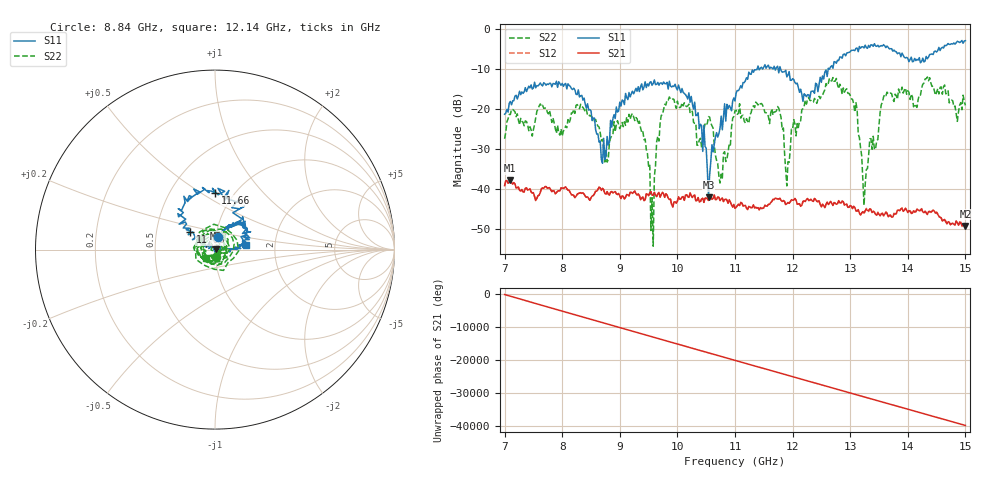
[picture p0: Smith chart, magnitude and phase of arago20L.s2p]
!Keysight Technologies,N5242B,MY47200105,A.14.00.23
!Date: Friday, April 26, 2024 11:29:56
!Correction: S11(C  2-Port  )
!S21(C  2-Port  )
!S12(C  2-Port  )
!S22(C  2-Port  )
!S2P File: Measurement: :
# Hz S  RI  R 50
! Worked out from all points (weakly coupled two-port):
!   401 points, 7 GHz to 15 GHz, reference 50 ohm
!   highest |S21| = -37.77 dB at 7.1 GHz (marker M1); lowest = -49.2 dB at 15 GHz (marker M2)
!   lowest |S11| = -42.0 dB at 10.54 GHz (marker M3), VSWR 1.02, Z = 50.5 + j0.608 ohm
!   |S11| at or under -10 dB: start of sweep to 11.38 GHz; 11.41528 GHz to 11.43162 GHz (16.34 MHz wide, 0.143 % of centre); 11.79 GHz to 12.62 GHz (826.1 MHz wide, 6.77 % of centre) (the widest 3 of 8)
!   |S22| runs from -54.3 to -12.0 dB; largest |S21 - S12| = 0.00019
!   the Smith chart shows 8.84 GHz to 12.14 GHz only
!   S11 on the Smith chart (normalised r, x): 8.84 GHz: 1.02, +0.14; 11.06 GHz: 0.74, +0.15; 11.66 GHz: 0.82, +0.58; 12.14 GHz: 1.42, +0.08
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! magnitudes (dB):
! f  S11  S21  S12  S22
! 7 GHz  -21.3  -39.2  -39.1  -27.4
! 7.1 GHz  -18.1  -37.8  -37.8  -21.4
! 8.34 GHz  -16.6  -41.1  -41.1  -19.4
! 8.72 GHz  -27.3  -40.2  -40.2  -30.1
! 8.84 GHz  -22.8  -40.8  -40.8  -27.2
! 9.32 GHz  -14.4  -41.2  -41.2  -23.8
! 9.58 GHz  -13.6  -41.5  -41.5  -54.3
! 9.68 GHz  -14.0  -40.8  -40.8  -28.0
! 9.86 GHz  -13.1  -42.6  -42.6  -17.0
! 10.26 GHz  -18.8  -42.1  -42.1  -20.7
! 10.54 GHz  -42.0  -42.8  -42.8  -21.9
! 10.74 GHz  -24.8  -42.9  -42.9  -38.5
! 11 GHz  -18.0  -44.8  -44.9  -20.5
! 11.06 GHz  -15.4  -43.8  -43.8  -21.1
! 11.66 GHz  -10.0  -42.6  -42.6  -21.5
! 11.9 GHz  -12.0  -43.6  -43.7  -39.2
! 12.14 GHz  -15.1  -44.3  -44.2  -23.0
! 12.34 GHz  -15.6  -42.9  -43.0  -18.3
! 12.96 GHz  -5.9  -44.6  -44.5  -16.1
! 13.26 GHz  -4.1  -45.4  -45.5  -39.0
! 13.68 GHz  -5.0  -46.6  -46.6  -16.3
! 15 GHz  -2.9  -49.2  -48.9  -19.1
